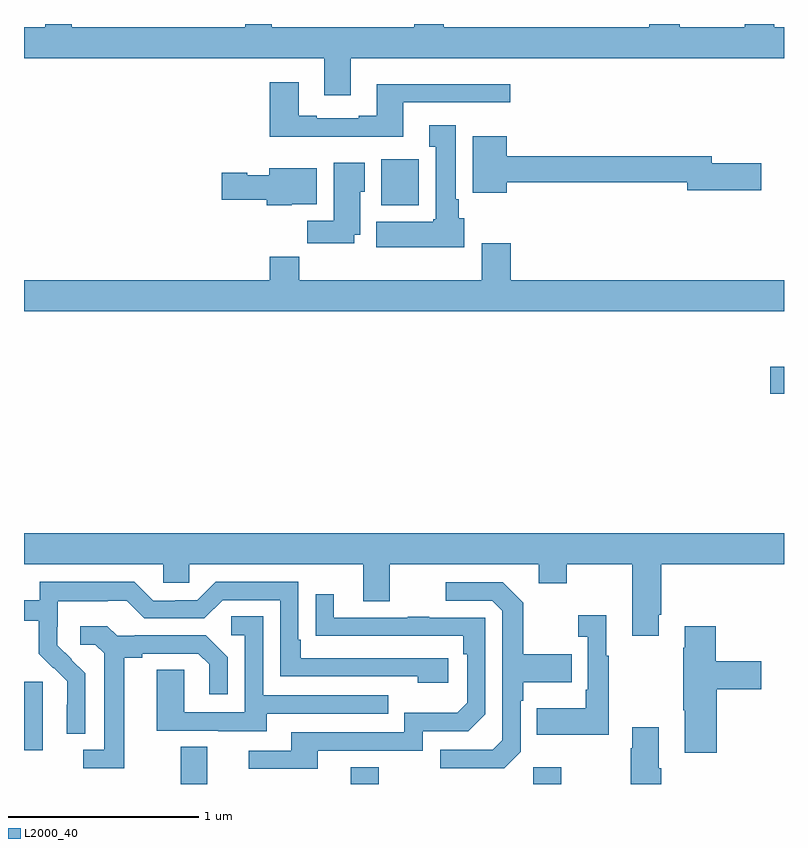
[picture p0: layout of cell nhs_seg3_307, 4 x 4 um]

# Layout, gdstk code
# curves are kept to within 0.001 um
import gdstk
lib = gdstk.Library(unit=1e-6, precision=1e-09)
def R(c, l, rs):  # rectangles x0, y0, x1, y1
    for r in rs: c.add(gdstk.rectangle(r[:2], r[2:], *l))
def P(c, l, *ps):  # polygons
    for p in ps: c.add(gdstk.Polygon(p, *l))
L2000_40 = (2000, 40)

nhs_seg3_307 = lib.new_cell('nhs_seg3_307')
R(nhs_seg3_307, L2000_40, [(125.825,726.4,125.965,726.596), (126.719,726.4,126.867,726.487), (127.68,726.4,127.827,726.487), (125,726.578,125.098,726.939), (128.928,728.453,129,728.595), (126.881,729.446,127.078,729.688)])
P(nhs_seg3_307, L2000_40, [(126.721,730.22),(129,730.22),(129,730.384),(128.949,730.384),(128.949,730.4),(128.794,730.4),(128.794,730.384),(128.451,730.384),(128.451,730.4),(128.291,730.4),(128.291,730.384),(127.208,730.384),(127.208,730.4),(127.055,730.4),(127.055,730.384),(126.303,730.384),(126.303,730.4),(126.165,730.4),(126.165,730.384),(125.251,730.384),(125.251,730.4),(125.111,730.4),(125.111,730.384),(125,730.384),(125,730.22),(126.581,730.22),(126.581,730.026),(126.721,730.026)],
  [(126.997,729.987),(127.558,729.987),(127.558,730.084),(126.857,730.084),(126.857,729.916),(126.761,729.916),(126.761,729.903),(126.541,729.903),(126.541,729.916),(126.445,729.916),(126.445,730.093),(126.293,730.093),(126.293,729.806),(126.997,729.806)],
  [(127.318,729.378),(127.288,729.378),(127.288,729.478),(127.273,729.478),(127.273,729.868),(127.133,729.868),(127.133,729.755),(127.166,729.755),(127.166,729.372),(127.153,729.372),(127.153,729.358),(126.854,729.358),(126.854,729.224),(127.318,729.224)],
  [(127.54,729.568),(128.492,729.568),(128.492,729.526),(128.881,729.526),(128.881,729.668),(128.62,729.668),(128.62,729.704),(127.54,729.704),(127.54,729.808),(127.361,729.808),(127.361,729.512),(127.54,729.512)],
  [(126.739,729.29),(126.769,729.29),(126.769,729.516),(126.793,729.516),(126.793,729.67),(126.629,729.67),(126.629,729.364),(126.49,729.364),(126.49,729.246),(126.739,729.246)],
  [(126.408,729.452),(126.541,729.452),(126.541,729.64),(126.29,729.64),(126.29,729.604),(126.174,729.604),(126.174,729.617),(126.042,729.617),(126.042,729.475),(126.278,729.475),(126.278,729.446),(126.408,729.446)],
  [(129,729.052),(127.562,729.052),(127.562,729.247),(127.409,729.247),(127.409,729.052),(126.449,729.052),(126.449,729.176),(126.293,729.176),(126.293,729.052),(125,729.052),(125,728.888),(129,728.888)],
  [(128.341,727.291),(128.354,727.291),(128.354,727.556),(129,727.556),(129,727.72),(125,727.72),(125,727.556),(125.733,727.556),(125.733,727.458),(125.871,727.458),(125.871,727.556),(126.785,727.556),(126.785,727.362),(126.925,727.362),(126.925,727.556),(127.709,727.556),(127.709,727.457),(127.857,727.457),(127.857,727.556),(128.201,727.556),(128.201,727.179),(128.341,727.179)],
  [(125.322,726.982),(125.176,727.13),(125.176,727.227),(125.178,727.227),(125.178,727.361),(125.441,727.361),(125.441,727.365),(125.541,727.365),(125.634,727.272),(125.949,727.272),(126.045,727.368),(126.348,727.368),(126.348,726.966),(127.073,726.966),(127.073,726.932),(127.234,726.932),(127.234,727.062),(126.457,727.062),(126.457,727.159),(126.444,727.159),(126.444,727.464),(126.009,727.464),(125.913,727.368),(125.795,727.368),(125.795,727.365),(125.679,727.365),(125.579,727.465),(125.082,727.465),(125.082,727.368),(125,727.368),(125,727.26),(125.077,727.26),(125.077,727.085),(125.154,727.008),(125.157,727.011),(125.228,726.941),(125.228,726.818),(125.226,726.818),(125.226,726.664),(125.322,726.664)],
  [(127.614,726.57),(127.614,726.839),(127.627,726.839),(127.627,726.935),(127.883,726.935),(127.883,727.083),(127.627,727.083),(127.627,727.355),(127.521,727.461),(127.221,727.461),(127.221,727.365),(127.464,727.365),(127.518,727.311),(127.518,726.63),(127.467,726.579),(127.191,726.579),(127.191,726.483),(127.527,726.483)],
  [(126.547,726.576),(127.098,726.576),(127.098,726.678),(127.338,726.678),(127.428,726.768),(127.428,727.275),(127.133,727.275),(127.133,727.28),(127.021,727.28),(127.021,727.275),(126.631,727.275),(126.631,727.399),(126.535,727.399),(126.535,727.18),(127.312,727.179),(127.312,727.082),(127.332,727.082),(127.332,726.828),(127.279,726.775),(127.002,726.775),(127.002,726.672),(126.407,726.672),(126.407,726.576),(126.183,726.576),(126.183,726.48),(126.547,726.48)],
  [(128.077,727.075),(128.065,727.075),(128.065,727.288),(127.917,727.288),(127.917,727.175),(127.968,727.175),(127.968,726.895),(127.956,726.895),(127.956,726.799),(127.699,726.799),(127.699,726.659),(128.077,726.659)],
  [(126.277,726.771),(126.917,726.771),(126.917,726.867),(126.258,726.867),(126.258,727.283),(126.09,727.283),(126.09,727.182),(126.162,727.182),(126.162,726.777),(125.844,726.777),(125.844,727.001),(125.699,727.001),(125.699,726.681),(126.023,726.681),(126.023,726.677),(126.277,726.677)],
  [(125.527,727.064),(125.623,727.064),(125.623,727.086),(125.918,727.086),(125.975,727.029),(125.975,726.873),(126.072,726.873),(126.072,727.066),(125.956,727.182),(125.584,727.182),(125.584,727.179),(125.49,727.179),(125.438,727.231),(125.295,727.231),(125.295,727.134),(125.376,727.134),(125.423,727.087),(125.423,726.579),(125.313,726.579),(125.313,726.483),(125.527,726.483)],
  [(128.645,726.899),(128.881,726.899),(128.881,727.046),(128.64,727.046),(128.64,727.231),(128.477,727.231),(128.477,727.118),(128.47,727.118),(128.47,726.787),(128.477,726.787),(128.477,726.564),(128.645,726.564)],
  [(128.354,726.484),(128.341,726.484),(128.341,726.7),(128.201,726.7),(128.201,726.587),(128.194,726.587),(128.194,726.4),(128.354,726.4)])

lib.write_gds('nhs_seg3_307.gds')
